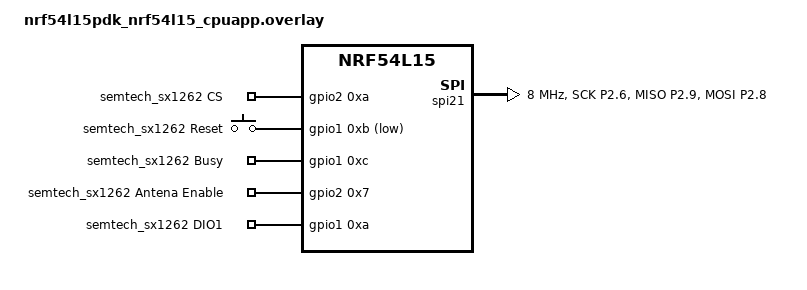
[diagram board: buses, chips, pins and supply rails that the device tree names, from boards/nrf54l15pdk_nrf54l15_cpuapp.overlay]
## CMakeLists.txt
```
#
# Copyright (c) 2023 Nordic Semiconductor ASA
#
# SPDX-License-Identifier: LicenseRef-Nordic-5-Clause
#

cmake_minimum_required(VERSION 3.20.0)

# Zephyr CMake project
find_package(Zephyr REQUIRED HINTS $ENV{ZEPHYR_BASE})
project(sidewalk_sid_end_device)

# Source files
target_include_directories(app PRIVATE include)
target_sources(app PRIVATE
src/main.c
src/sidewalk.c
src/sidewalk_events.c
)

target_sources_ifdef(CONFIG_SIDEWALK_FILE_TRANSFER_DFU app PRIVATE
    src/sbdt/scratch_buffer.c
    src/sbdt/dfu_file_transfer.c
)

if(CONFIG_SID_END_DEVICE_SENSOR_MONITORING)
    target_sources(app PRIVATE
        src/sensor_monitoring/app_buttons.c
        src/sensor_monitoring/app_leds.c
        src/sensor_monitoring/app_sensor.c
        src/sensor_monitoring/app_tx.c
        src/sensor_monitoring/app_rx.c
        src/sensor_monitoring/app.c
    )
elseif(CONFIG_SID_END_DEVICE_DUT)
    target_sources(app PRIVATE
        src/cli/app.c
    )
else()
    target_sources(app PRIVATE
        src/hello/app.c
    )
endif()

if(CONFIG_SID_END_DEVICE_CLI)
    target_sources(app PRIVATE
        src/cli/app_shell.c
    )
    target_link_libraries(app PRIVATE sid_cli_ifc)
    if(NOT CONFIG_SIDEWALK_SUBGHZ_SUPPORT)
        target_sources(app PRIVATE src/cli/sid_utils_compat.c)
        target_link_libraries(app PRIVATE sid_utils_ifc)
    endif()
    target_sources_ifdef(CONFIG_SIDEWALK_ON_DEV_CERT app PRIVATE 
        src/cli/sid_on_dev_cert_cli.c
    )
    target_sources_ifdef(CONFIG_SIDEWALK_REGISTRATION_OVER_WIRE app PRIVATE
        src/cli/row_shell.c
    )
endif()

if(CONFIG_SIDEWALK_USE_PREBUILT_LIBRARIES)
    target_link_libraries(app PRIVATE sidewalk)
endif()
```

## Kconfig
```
#
# Copyright (c) 2022 Nordic Semiconductor ASA
#
# SPDX-License-Identifier: LicenseRef-Nordic-5-Clause
#

mainmenu "Sidewalk End Device nRF Connect Application"

choice SID_END_DEVICE
	prompt "Select application variant to run"
	default SID_END_DEVICE_HELLO
config SID_END_DEVICE_HELLO
	bool "Sidewalk hello world application"
config SID_END_DEVICE_SENSOR_MONITORING
	bool "Demo sensor monitoring application"
	imply SIDEWALK_DEMO_PARSER
	imply SENSOR
	imply TEMP_NRF5
config SID_END_DEVICE_DUT
	bool "Device under test application"
endchoice #SID_END_DEVICE

if SID_END_DEVICE_HELLO

config SID_END_DEVICE_ECHO_MSGS
	bool "Enable message echo feature"
	default y
	help
	  Echo received messages back to Sidewalk cloud.
	  Works with GET and SET messages types.

endif #SID_END_DEVICE_HELLO

if SID_END_DEVICE_SENSOR_MONITORING

rsource "Kconfig.sensor_monitoring"

endif #SID_END_DEVICE_SENSOR_MONITORING

config SID_END_DEVICE_CLI
	bool "Sidewalk CLI (DUT)"
	depends on SID_END_DEVICE_DUT
	default y
	imply SHELL
	imply CRC
	help
	  Enables Sidewalk command line interface.
	  The shell commands are forwarded to the Amazon Sidewalk SDK CLI
	  and executed on the Sidewalk thread.

if SID_END_DEVICE_CLI

config SHELL_CMD_BUFF_SIZE
	default 768

config SHELL_STACK_SIZE
	default 4096

config SHELL_BACKEND_SERIAL_TX_RING_BUFFER_SIZE
	default 128

config SHELL_BACKEND_SERIAL_RX_RING_BUFFER_SIZE
	default 1024

# The shell thread does not print log messages while waiting for a command to complete,
# so the queue must hold all messages logged by a command.
config SHELL_BACKEND_SERIAL_LOG_MESSAGE_QUEUE_SIZE
	default 8192

config SID_END_DEVICE_CLI_ALIVE_MARKER
	bool "Alive marker"
	help
	    Enable alive marker that periodically prints "alive" message to log.
	    Useful to verify that application is running and not stuck.

config SID_END_DEVICE_CLI_CMD_TIMEOUT
	int "Sidewalk CLI command timeout [s]"
	default 60
	help
	    Maximum time to wait for the Sidewalk thread to execute a shell command.
	    The time spent in the power measurement mode is not counted.
	    If the command does not complete in time, a kernel oops is triggered.
	    Set to 0 to wait forever.

# Sidewalk CLI command results and events are only printed by the debug libraries
choice SIDEWALK_PREBUILT_LIBRARIES_VARIANT
	default SIDEWALK_PREBUILT_LIBRARIES_DEBUG
endchoice

endif # SID_END_DEVICE_CLI

config SID_END_DEVICE_AUTO_START
	default y
	bool "Automatic Sidewalk initialization and start"

config SID_END_DEVICE_AUTO_CONN_REQ
	default y
	bool "Automatic connection request before message send"

config SID_END_DEVICE_PERSISTENT_LINK_MASK
	bool "Persistent link mask"
	help
	  The Sidewalk link mask persists after a device reset
	  but defaults after a factory reset.
	  This could affect the flash lifespan.

choice SID_END_DEVICE_LINK_MASK
	prompt "Physical link type"
	default SID_END_DEVICE_LINK_MASK_FSK if SIDEWALK_LINK_MASK_FSK
	default SID_END_DEVICE_LINK_MASK_LORA if SIDEWALK_LINK_MASK_LORA
	default SID_END_DEVICE_LINK_MASK_BLE if SIDEWALK_LINK_MASK_BLE
	default SID_END_DEVICE_LINK_MASK_BLE
	help
	  Choose the default physical link type for Sidewalk connection.

config SID_END_DEVICE_LINK_MASK_BLE
	bool "Bluetooth Low Energy link"

config SID_END_DEVICE_LINK_MASK_FSK
	bool "Sub-GHz link for FSK"

config SID_END_DEVICE_LINK_MASK_LORA
	bool "Sub-GHz link for LORA"

endchoice # SID_END_DEVICE_LINK_MASK

config SID_END_DEVICE_EVENT_HEAP_SIZE
	int "Heap for Sidewalk event contexts"
	default 2048

config SIDEWALK_FILE_TRANSFER
	bool "Sidewalk file transfer [DEPRECATED]"
	select DEPRECATED
	help
	  This option is deprecated. Use SIDEWALK_FILE_TRANSFER_DFU instead.

config SIDEWALK_FILE_TRANSFER_SHELL
	bool "SBDT cli backend for file transfer [DEPRECATED]"
	depends on SIDEWALK_FILE_TRANSFER
	select DEPRECATED
	help
	  This option is deprecated and has no effect.
	  The Sidewalk Bulk Data Transfer (SBDT) commands are provided by the
	  Sidewalk QA library when SID_END_DEVICE_CLI is enabled.

config SIDEWALK_FILE_TRANSFER_DFU
	bool "Sidewalk file transfer and DFU [EXPERIMENTAL]"
	select EXPERIMENTAL
	imply SIDEWALK_DFU_IMG_UTILS
	imply DFU_MULTI_IMAGE
	imply DFU_TARGET
	imply DFU_TARGET_MCUBOOT
	imply STREAM_FLASH
	imply STREAM_FLASH_ERASE
	help
	    Add support for Sidewalk Bulk Data Transfer (SBDT) in application.
	    Save received data to flash. Expect CBOR manifest.
	    Automatically reset device after file transfer.

if SIDEWALK_FILE_TRANSFER_DFU

config SIDEWALK_FILE_TRANSFER_HEAP_SIZE
	int "Sidewalk file transfer heap size"
	default 10240
	help
	    Heap size in bytes to be allocated
	    for Sidewalk Bulk Data Transfer (SBDT).

config SBDT_MAX_PARALLEL_TRANSFERS
	int "maximum number of sbdt parallel transfers"
	default 3

endif # SIDEWALK_FILE_TRANSFER_DFU

config SIDEWALK_LOCATION_SHELL
	bool "Sidewalk Location CLI [DEPRECATED]"
	depends on SID_END_DEVICE_CLI
	select DEPRECATED
	help
	  This option is deprecated and has no effect.
	  The Sidewalk location and DULT commands are provided by the Sidewalk CLI
	  when SID_END_DEVICE_CLI is enabled.

if SIDEWALK_CRYPTO

choice CC3XX_LOCK_VARIANT
	default CC3XX_ATOMIC_LOCK if SOC_NRF52840
endchoice

config PSA_WANT_ALG_SHA_512
	default y if SOC_SERIES_NRF54LX

config PSA_WANT_ALG_CHACHA20_POLY1305
	default n

config PSA_WANT_ALG_SHA_224
	default n

config PSA_WANT_ALG_SHA_384
	default n

config PSA_WANT_ALG_CBC_NO_PADDING
	default n

config PSA_WANT_ALG_CBC_PKCS7
	default n

config PSA_WANT_ALG_HKDF
	default n

config PSA_USE_CC3XX_KEY_AGREEMENT_DRIVER
	default n if SOC_NRF52840

config PSA_USE_CC3XX_ASYMMETRIC_SIGNATURE_DRIVER
	default n if SOC_NRF52840

config PSA_USE_CC3XX_ASYMMETRIC_ENCRYPTION_DRIVER
	default n if SOC_NRF52840

config PSA_USE_CC3XX_KEY_MANAGEMENT_DRIVER
	default n if SOC_NRF52840

endif #SIDEWALK_CRYPTO

if SHELL
# TODO: Remove when merged in NCS copy of sdk-zephyr https://github.com/zephyrproject-rtos/zephyr/pull/85790
# Workaround for missing first few logs.
config LOG_BACKEND_RTT
	bool "Segger J-Link RTT backend"
	depends on USE_SEGGER_RTT
	default y if !SHELL_LOG_BACKEND
	default n
endif #SHELL

source "Kconfig.zephyr"
```

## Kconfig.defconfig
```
#
# Copyright (c) 2022 Nordic Semiconductor ASA
#
# SPDX-License-Identifier: LicenseRef-Nordic-5-Clause
#

# Bluetooth
config BT_REMOTE_VERSION
	default y

config BT_BUF_ACL_TX_SIZE
	default 251
	default 502 if SIDEWALK_DFU_BLE_FAST

config BT_BUF_ACL_TX_COUNT
	default 3

config BT_BUF_ACL_RX_SIZE
	default 251
	default 502 if SIDEWALK_DFU_BLE_FAST

config BT_BUF_ACL_RX_COUNT_EXTRA
	default 5

config BT_L2CAP_TX_MTU
	default 247
	default 498 if SIDEWALK_DFU_BLE_FAST

config BT_CTLR_DATA_LENGTH_MAX
	default 247
	default 251 if SIDEWALK_DFU_BLE_FAST

config BT_PERIPHERAL_PREF_MIN_INT
	default 16

config BT_PERIPHERAL_PREF_MAX_INT
	default 60

config BT_PERIPHERAL_PREF_LATENCY
	default 0

config BT_PERIPHERAL_PREF_TIMEOUT
	default 400

# NVM
config NVS_LOOKUP_CACHE
	default y

config NVS_LOOKUP_CACHE_SIZE
	default 256

# Stack and Heap
config SYSTEM_WORKQUEUE_STACK_SIZE
	default 4096

config LOG_PROCESS_THREAD_STARTUP_DELAY_MS
	default 50 if SHELL

config SHELL_STACK_SIZE
	default 8192 if SID_END_DEVICE_CLI

config HEAP_MEM_POOL_SIZE
	default 4096

config MBEDTLS_HEAP_SIZE
	default 4096

config SPI_NRFX_RAM_BUFFER_SIZE
	default 0

# CLI
if SID_END_DEVICE_CLI

config SHELL_CMD_BUFF_SIZE
	default 1024

config SHELL_BACKEND_SERIAL_TX_RING_BUFFER_SIZE
	default 128

config SHELL_BACKEND_SERIAL_RX_RING_BUFFER_SIZE
	default 1024

endif # SID_END_DEVICE_CLI

# Others
config SPIN_VALIDATE
    default n

config PARTITION_MANAGER_ENABLED
	default y
```

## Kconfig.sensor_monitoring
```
#
# Copyright (c) 2022 Nordic Semiconductor ASA
#
# SPDX-License-Identifier: LicenseRef-Nordic-5-Clause
#

config TEMPLATE_APP_NOTIFY_DATA_PERIOD_MS
    int "Notify period of sensor monitoring template app"
    default 10000

config SIDEWALK_THREAD_PRIORITY
    default 12

config TEMPLATE_APP_TX_THREAD_PRIORITY
    int
    default 13

config TEMPLATE_APP_RX_THREAD_PRIORITY
    int
    default 14

config TEMPLATE_APP_TX_THREAD_STACK_SIZE
    int
    default 4096

config TEMPLATE_APP_RX_THREAD_STACK_SIZE
    int
    default 4096

config TEMPLATE_APP_TX_THREAD_QUEUE_SIZE
    int
    default 10

config TEMPLATE_APP_RX_THREAD_QUEUE_SIZE
    int
    default 4
```

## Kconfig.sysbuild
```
#
# Copyright (c) 2023 Nordic Semiconductor ASA
#
# SPDX-License-Identifier: LicenseRef-Nordic-5-Clause
#

choice BOOTLOADER
	default BOOTLOADER_MCUBOOT
endchoice

if BOOTLOADER_MCUBOOT

choice MCUBOOT_MODE
	default MCUBOOT_MODE_OVERWRITE_ONLY
endchoice

config MCUBOOT_SIGNATURE_USING_KMU
	default y if SOC_SERIES_NRF54L

config MCUBOOT_GENERATE_DEFAULT_KEY_FILE
	default y if SOC_SERIES_NRF54L

config DFU_MULTI_IMAGE_PACKAGE_BUILD
	default y

config DFU_MULTI_IMAGE_PACKAGE_APP
	default y

config MERGED_HEX_FILES
	default y

endif # BOOTLOADER_MCUBOOT

source "${ZEPHYR_BASE}/share/sysbuild/Kconfig"
```

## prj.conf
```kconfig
#
# Copyright (c) 2023 Nordic Semiconductor ASA
#
# SPDX-License-Identifier: LicenseRef-Nordic-5-Clause
#
CONFIG_STATIC_INIT_GNU=y

# Sidewalk
CONFIG_SIDEWALK=y
CONFIG_SMF=y

# Log
CONFIG_LOG=y
CONFIG_LOG_PRINTK=y
CONFIG_LOG_BUFFER_SIZE=4096

# Stack and Heap
CONFIG_SYSTEM_WORKQUEUE_STACK_SIZE=4096
CONFIG_MBEDTLS_HEAP_SIZE=4096

# Power Management
CONFIG_PM_DEVICE=y
CONFIG_PM_DEVICE_RUNTIME=y

# Link Time Optimization
CONFIG_LTO=y
CONFIG_ISR_TABLES_LOCAL_DECLARATION=y

# Debug
CONFIG_NCS_APPLICATION_BOOT_BANNER_STRING="Sidewalk"
CONFIG_RESET_ON_FATAL_ERROR=n
CONFIG_SYS_HEAP_RUNTIME_STATS=y
```

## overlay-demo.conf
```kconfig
#
# Copyright (c) 2024 Nordic Semiconductor ASA
#
# SPDX-License-Identifier: LicenseRef-Nordic-5-Clause
#

CONFIG_SID_END_DEVICE_SENSOR_MONITORING=y
```

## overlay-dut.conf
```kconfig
#
# Copyright (c) 2024 Nordic Semiconductor ASA
#
# SPDX-License-Identifier: LicenseRef-Nordic-5-Clause
#
CONFIG_SID_END_DEVICE_DUT=y

CONFIG_SID_END_DEVICE_CLI=y
CONFIG_SIDEWALK_ON_DEV_CERT=y

CONFIG_SIDEWALK_BLE_ADAPTER_LOG_LEVEL_DBG=y

CONFIG_SID_END_DEVICE_AUTO_START=n
CONFIG_SID_END_DEVICE_ECHO_MSGS=n
```

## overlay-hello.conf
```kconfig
#
# Copyright (c) 2024 Nordic Semiconductor ASA
#
# SPDX-License-Identifier: LicenseRef-Nordic-5-Clause
#

CONFIG_SID_END_DEVICE_HELLO=y
```

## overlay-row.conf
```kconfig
#
# Copyright (c) 2026 Nordic Semiconductor ASA
#
# SPDX-License-Identifier: LicenseRef-Nordic-5-Clause
#
# Registration over Wire (ROW) factory diagnostic firmware.
# Apply on top of overlay-dut.conf.
#
CONFIG_SIDEWALK_REGISTRATION_OVER_WIRE=y

# The ROW shell backend owns the shell UART: no default serial shell and no raw console.
CONFIG_SHELL_BACKEND_SERIAL=n
CONFIG_UART_CONSOLE=n

# Logs go through the ROW shell backend, never to RTT.
CONFIG_LOG_BACKEND_RTT=n
CONFIG_LOG_BACKEND_UART=n
```

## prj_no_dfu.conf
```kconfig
#
# Copyright (c) 2023 Nordic Semiconductor ASA
#
# SPDX-License-Identifier: LicenseRef-Nordic-5-Clause
#

# Sidewalk
CONFIG_SIDEWALK=y
CONFIG_SIDEWALK_DFU=n
CONFIG_SMF=y

# Log
CONFIG_LOG=y
CONFIG_LOG_PRINTK=y
CONFIG_LOG_BUFFER_SIZE=2048
CONFIG_NVS_LOG_LEVEL_WRN=y

# Bluetooth
CONFIG_BT_DEVICE_NAME="Nordic"

# Debug
CONFIG_RESET_ON_FATAL_ERROR=n
```

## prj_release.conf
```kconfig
#
# Copyright (c) 2022 Nordic Semiconductor ASA
#
# SPDX-License-Identifier: LicenseRef-Nordic-5-Clause
#
CONFIG_STATIC_INIT_GNU=y

# Sidewalk
CONFIG_SIDEWALK=y
CONFIG_SMF=y
CONFIG_SIDEWALK_PREBUILT_LIBRARIES_RELEASE=y

# Stack and Heap
CONFIG_SYSTEM_WORKQUEUE_STACK_SIZE=4096
CONFIG_MBEDTLS_HEAP_SIZE=4096

# Disable peripherals
CONFIG_LOG=n
CONFIG_SERIAL=n
CONFIG_SHELL=n
CONFIG_CONSOLE=n
CONFIG_UART_CONSOLE=n
CONFIG_BOOT_BANNER=n
CONFIG_NCS_BOOT_BANNER=n
CONFIG_PRINTK=n
CONFIG_ASSERT=n
CONFIG_ASSERT_VERBOSE=n
CONFIG_ASSERT_NO_FILE_INFO=y
CONFIG_PRINTK_SYNC=n
CONFIG_THREAD_NAME=n

# Power Management
CONFIG_PM_DEVICE=y
CONFIG_PM_DEVICE_RUNTIME=y

# Link Time Optimization
CONFIG_LTO=y
CONFIG_ISR_TABLES_LOCAL_DECLARATION=y
```

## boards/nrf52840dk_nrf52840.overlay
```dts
/*
 * Copyright (c) 2023 Nordic Semiconductor ASA
 *
 * SPDX-License-Identifier: LicenseRef-Nordic-5-Clause
 */

/*
 * Override simple_arduino_adapter pinctrl: use a self-contained config for
 * spi2 on Arduino header pins (P1.13/P1.14/P1.15) instead of borrowing
 * spi3_default, which gained H0H1 drive in NCS 3.3.0.
 */
#include <zephyr/dt-bindings/pinctrl/nrf-pinctrl.h>

&pinctrl {
	spi2_arduino_default: spi2_arduino_default {
		group1 {
			psels = <NRF_PSEL(SPIM_SCK, 1, 15)>,
				<NRF_PSEL(SPIM_MOSI, 1, 13)>,
				<NRF_PSEL(SPIM_MISO, 1, 14)>;
		};
	};

	spi2_arduino_sleep: spi2_arduino_sleep {
		group1 {
			psels = <NRF_PSEL(SPIM_SCK, 1, 15)>,
				<NRF_PSEL(SPIM_MOSI, 1, 13)>,
				<NRF_PSEL(SPIM_MISO, 1, 14)>;
			low-power-enable;
		};
	};
};

&spi2 {
	pinctrl-0 = <&spi2_arduino_default>;
	pinctrl-1 = <&spi2_arduino_sleep>;
};

/{
	state_notifier_gpios{
		compatible = "gpio-keys";
		state_notifier_error: error  {
			gpios = <&gpio1 0x7 0x0>;
			label = "Application state error";
		};
		state_notifier_dfu: dfu  {
			gpios = <&gpio1 0x1 0x0>;
			label = "Application state dfu";
		};
		state_notifier_sending: sending  {
			gpios = <&gpio1 0x3 0x0>;
			label = "Application state sending";
		};
		state_notifier_receiving: receiving  {
			gpios = <&gpio1 0x2 0x0>;
			label = "Application state receiving";
		};
	};

	aliases {
		state-notifier-connected = &led0;
		state-notifier-time-sync = &led1;
		state-notifier-registered = &led2;
		state-notifier-working = &led3;
		state-notifier-error = &state_notifier_error;
		state-notifier-dfu = &state_notifier_dfu;
		state-notifier-sending = &state_notifier_sending;
		state-notifier-receiving = &state_notifier_receiving;
	};
};

#include <nrf52840_partitions.dtsi>
```

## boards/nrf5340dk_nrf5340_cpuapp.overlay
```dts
/*
 * Copyright (c) 2023 Nordic Semiconductor ASA
 *
 * SPDX-License-Identifier: LicenseRef-Nordic-5-Clause
 */

/{
	state_notifier_gpios{
		compatible = "gpio-keys";
		state_notifier_error: error  {
			gpios = <&gpio1 0x8 0x0>;
			label = "Application state error";
		};
		state_notifier_dfu: dfu  {
			gpios = <&gpio1 0x2 0x0>;
			label = "Application state dfu";
		};
		state_notifier_sending: sending  {
			gpios = <&gpio1 0x4 0x0>;
			label = "Application state sending";
		};
		state_notifier_receiving: receiving  {
			gpios = <&gpio1 0x3 0x0>;
			label = "Application state receiving";
		};
	};

	aliases {
		state-notifier-connected = &led0;
		state-notifier-time-sync = &led1;
		state-notifier-registered = &led2;
		state-notifier-working = &led3;
		state-notifier-error = &state_notifier_error;
		state-notifier-dfu = &state_notifier_dfu;
		state-notifier-sending = &state_notifier_sending;
		state-notifier-receiving = &state_notifier_receiving;
	};

	chosen {
		nordic,pm-ext-flash = &mx25r64;
	};
};

/* Disable unused peripherals to reduce power consumption */
&adc {
	status = "disabled";
};
&i2c1 {
	status = "disabled";
};
&pwm0 {
	status = "disabled";
};
&spi2 {
	status = "disabled";
};
&usbd {
	status = "disabled";
};
```

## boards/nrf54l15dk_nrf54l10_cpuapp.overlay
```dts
/*
 * Copyright (c) 2024 Nordic Semiconductor ASA
 *
 * SPDX-License-Identifier: LicenseRef-Nordic-5-Clause
 */

#include <state_notifier_aliases.dtsi>

#include <nrf54l10_cpuapp_memory.dtsi>

&adc {
	status = "disabled";
};
&uart21 {
	status = "disabled";
};
&pwm20 {
	status = "disabled";
};
&i2c20 {
	status = "disabled";
};
&spi20 {
	status = "disabled";
};
&mx25r64 {
	status = "okay";
};

#include <nrf54l10_cpuapp_partitions.dtsi>
```

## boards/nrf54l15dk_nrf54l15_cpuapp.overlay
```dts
/*
 * Copyright (c) 2024 Nordic Semiconductor ASA
 *
 * SPDX-License-Identifier: LicenseRef-Nordic-5-Clause
 */

#include <state_notifier_aliases.dtsi>

#include <nrf54l15_cpuapp_memory.dtsi>

&adc {
	status = "disabled";
};
&uart21 {
	status = "disabled";
};
&pwm20 {
	status = "disabled";
};
&i2c20 {
	status = "disabled";
};
&spi20 {
	status = "disabled";
};

#include <nrf54l15_cpuapp_partitions.dtsi>
```

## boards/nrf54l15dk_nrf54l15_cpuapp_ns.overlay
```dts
/*
 * Copyright (c) 2024 Nordic Semiconductor ASA
 *
 * SPDX-License-Identifier: LicenseRef-Nordic-5-Clause
 */

#include <state_notifier_aliases.dtsi>

&sram0_s {
	reg = <0x0 0x13000>;
	ranges = <0x0 0x0 0x13000>;
};

&sram0_ns {
	reg = <0x13000 0x2d000>;
	ranges = <0x0 0x13000 0x2d000>;
};

#include <nrf54l15_cpuapp_ns_partitions.dtsi>

&adc {
	status = "disabled";
};
&uart21 {
	status = "disabled";
};
&pwm20 {
	status = "disabled";
};
&i2c20 {
	status = "disabled";
};
&spi20 {
	status = "disabled";
};

// Change IRQ ids to handle button interrupts.

// The default values for nRF54L15 are 219 and 269,
// but with TF-M they are reserved for the secure domain
// (218 and 268 are reserved for the non-secure domain).
&gpiote20 {
	interrupts = <218 NRF_DEFAULT_IRQ_PRIORITY>;
};

&gpiote30 {
	interrupts = <268 NRF_DEFAULT_IRQ_PRIORITY>;
};
```

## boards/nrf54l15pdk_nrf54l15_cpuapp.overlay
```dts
/*
 * Copyright (c) 2024 Nordic Semiconductor ASA
 *
 * SPDX-License-Identifier: LicenseRef-Nordic-5-Clause
 */


&pinctrl {
	spi21_default: spi21_default {
		group1 {
			psels = <NRF_PSEL(SPIM_SCK, 2, 6)>,
			        <NRF_PSEL(SPIM_MISO, 2, 9)>,
			        <NRF_PSEL(SPIM_MOSI, 2, 8)>;
		};
	};

	spi21_sleep: spi21_sleep {
		group1 {
			psels = <NRF_PSEL(SPIM_SCK, 2, 6)>,
			        <NRF_PSEL(SPIM_MISO, 2, 9)>,
			        <NRF_PSEL(SPIM_MOSI, 2, 8)>;
			low-power-enable;
		};
	};
};

sid_semtech: &spi21 {
	compatible = "nordic,nrf-spim";
	status = "okay";
	pinctrl-0 = <&spi21_default>;
	pinctrl-1 = <&spi21_sleep>;
	pinctrl-names = "default", "sleep";
	clock-frequency = <DT_FREQ_M(8)>;
};

/{
	semtech_sx1262_gpios{
		compatible = "gpio-keys";
		semtech_sx1262_cs: cs {
			gpios = <&gpio2 0xa GPIO_PULL_UP>;
			label = "semtech_sx1262 CS";
		};
		semtech_sx1262_reset_gpios: reset {
			gpios = <&gpio1 0xb (GPIO_ACTIVE_LOW|GPIO_PULL_UP)>;
			label = "semtech_sx1262 Reset";
		};
		semtech_sx1262_busy_gpios: busy {
			gpios = <&gpio1 0xc 0x0>;
			label = "semtech_sx1262 Busy";
		};
		semtech_sx1262_antenna_enable_gpios: antena_enable {
			gpios = <&gpio2 0x7 0x0>;
			label = "semtech_sx1262 Antena Enable";
		};
		semtech_sx1262_dio1_gpios: dio1 {
			gpios = <&gpio1 0xa 0x0>;
			label = "semtech_sx1262 DIO1";
		};
	};
	aliases {
		led0 = &led0;
		led1 = &led1;
		led2 = &led2;
		led3 = &led3;
		watchdog0 = &wdt30;
		/delete-property/ sw0;
		/delete-property/ sw1;
		/delete-property/ sw2;
		/delete-property/ sw3;
	};
};

/delete-node/ &button3;
/delete-node/ &button2;
/delete-node/ &button1;
/delete-node/ &button0;

&gpiote20 {
	status = "okay";
};

&gpiote30 {
	status = "okay";
};

&gpio1 {
	status = "okay";
};

&gpio2 {
	status = "okay";
};

&gpio0 {
	status = "okay";
};
```

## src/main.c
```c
/*
 * Copyright (c) 2023 Nordic Semiconductor ASA
 *
 * SPDX-License-Identifier: LicenseRef-Nordic-5-Clause
 */

#include <app.h>
#include <zephyr/logging/log.h>
#include <sidewalk_version.h>

int main(void)
{
	PRINT_SIDEWALK_VERSION();

	app_start();

	return 0;
}
```

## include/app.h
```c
/*
 * Copyright (c) 2023 Nordic Semiconductor ASA
 *
 * SPDX-License-Identifier: LicenseRef-Nordic-5-Clause
 */

#ifndef SAMPLE_APP_H
#define SAMPLE_APP_H

/**
 * @brief Start Sidewalk end device application.
 *
 * @note This function should never return.
 */
void app_start(void);

#endif /* SAMPLE_APP_H */
```

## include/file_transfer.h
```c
/*
 * Copyright (c) 2024 Nordic Semiconductor ASA
 *
 * SPDX-License-Identifier: LicenseRef-Nordic-5-Clause
 */

#ifndef FILE_TRANSFER_H
#define FILE_TRANSFER_H

#include <sid_bulk_data_transfer_api.h>

void app_file_transfer_demo_init(struct sid_handle *handle);

void app_file_transfer_demo_deinit(struct sid_handle *handle);

#endif /* FILE_TRANSFER_H */
```

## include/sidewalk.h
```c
/*
 * Copyright (c) 2023 Nordic Semiconductor ASA
 *
 * SPDX-License-Identifier: LicenseRef-Nordic-5-Clause
 */
#ifndef SIDEWALK_APP_H
#define SIDEWALK_APP_H

#include <sid_api.h>

#include <zephyr/kernel.h>
#include <zephyr/sys/slist.h>

typedef struct {
	struct sid_handle *handle;
	struct sid_config config;
	struct sid_status last_status;
} sidewalk_ctx_t;

typedef void (*event_handler_t)(sidewalk_ctx_t *sid, void *ctx);
typedef void (*ctx_free)(void *ctx);
typedef struct {
	event_handler_t handler;
	void *ctx;
	ctx_free ctx_free;
} sidewalk_ctx_event_t;

typedef struct {
	sys_snode_t node;
	struct sid_msg msg;
	struct sid_msg_desc desc;
} sidewalk_msg_t;

typedef struct {
	enum sid_option option;
	void *data;
	size_t data_len;
} sidewalk_option_t;

typedef struct {
	uint32_t file_id;
	size_t file_offset;
	void *data;
	size_t data_size;
} sidewalk_transfer_t;

void sidewalk_start(sidewalk_ctx_t *context);

int sidewalk_event_send(event_handler_t event, void *ctx, ctx_free free);

#ifdef CONFIG_SID_END_DEVICE_LINK_MASK_BLE
#define DEFAULT_LM (uint32_t)(SID_LINK_TYPE_1)
#elif CONFIG_SID_END_DEVICE_LINK_MASK_FSK
#define DEFAULT_LM (uint32_t)(SID_LINK_TYPE_2)
#elif CONFIG_SID_END_DEVICE_LINK_MASK_LORA
#define DEFAULT_LM (uint32_t)(SID_LINK_TYPE_3)
#else
#define DEFAULT_LM (uint32_t)(SID_LINK_TYPE_1)
#endif

void sidewalk_event_process(sidewalk_ctx_t *sid, void *ctx);
void sidewalk_event_autostart(sidewalk_ctx_t *sid, void *ctx);
void sidewalk_event_factory_reset(sidewalk_ctx_t *sid, void *ctx);
void sidewalk_event_new_status(sidewalk_ctx_t *sid, void *ctx);
void sidewalk_event_send_msg(sidewalk_ctx_t *sid, void *ctx);
void sidewalk_event_connect(sidewalk_ctx_t *sid, void *ctx);
void sidewalk_event_link_switch(sidewalk_ctx_t *sid, void *ctx);
void sidewalk_event_exit(sidewalk_ctx_t *sid, void *ctx);
void sidewalk_event_reboot(sidewalk_ctx_t *sid, void *ctx);
void sidewalk_event_platform_init(sidewalk_ctx_t *sid, void *ctx);

#define EVENT_TO_NAME(event)                                                                       \
	event == sidewalk_event_process	      ? "sidewalk_event_process" :                         \
	event == sidewalk_event_autostart     ? "sidewalk_event_autostart" :                       \
	event == sidewalk_event_factory_reset ? "sidewalk_event_factory_reset" :                   \
	event == sidewalk_event_new_status    ? "sidewalk_event_new_status" :                      \
	event == sidewalk_event_send_msg      ? "sidewalk_event_send_msg" :                        \
	event == sidewalk_event_connect	      ? "sidewalk_event_connect" :                         \
	event == sidewalk_event_link_switch   ? "sidewalk_event_link_switch" :                     \
	event == sidewalk_event_exit	      ? "sidewalk_event_exit" :                            \
	event == sidewalk_event_reboot	      ? "sidewalk_event_reboot" :                          \
	event == sidewalk_event_platform_init ? "sidewalk_event_platform_init" :                   \
						"use addr2line to get name of event"
#endif /* SIDEWALK_APP_H */
```

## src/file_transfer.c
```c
/*
 * Copyright (c) 2023 Nordic Semiconductor ASA
 *
 * SPDX-License-Identifier: LicenseRef-Nordic-5-Clause
 */

#include <file_transfer.h>
#include <sid_bulk_data_transfer_api.h>
#include <sid_hal_memory_ifc.h>
#include <sidewalk.h>
#include <scratch_buffer.h>

#ifdef CONFIG_SIDEWALK_FILE_TRANSFER_DFU
#include <dfu/dfu_multi_image.h>
#include <dfu/dfu_target.h>
#include <dfu_multi_image_utils.h>

#include <zephyr/dfu/mcuboot.h>
#endif /* CONFIG_SIDEWALK_FILE_TRANSFER_DFU */

#include <zephyr/kernel.h>
#include <zephyr/sys/util.h>
#include <zephyr/logging/log.h>

#include <sidTypes2str.h>
#include <sidTypes2Json.h>

LOG_MODULE_REGISTER(file_transfer, CONFIG_SIDEWALK_LOG_LEVEL);

static void on_transfer_request(const struct sid_bulk_data_transfer_request *const transfer_request,
				struct sid_bulk_data_transfer_response *const transfer_response,
				void *context)
{
	printk(JSON_NEW_LINE(JSON_OBJ(
		JSON_NAME("on_transfer_request", JSON_OBJ(JSON_VAL_sid_bulk_data_transfer_request(
							 "transfer_request", transfer_request))))));
	LOG_HEXDUMP_INF(transfer_request->file_descriptor, transfer_request->file_descriptor_size,
			"file_descriptor");

	transfer_response->scratch_buffer = scratch_buffer_create(
		transfer_request->file_id, transfer_request->minimum_scratch_buffer_size);

	if (!transfer_response->scratch_buffer) {
		transfer_response->status = SID_BULK_DATA_TRANSFER_ACTION_REJECT;
		transfer_response->reject_reason = SID_BULK_DATA_TRANSFER_REJECT_REASON_NO_SPACE;
		transfer_response->scratch_buffer_size = 0;
		return;
	}

	transfer_response->status = SID_BULK_DATA_TRANSFER_ACTION_ACCEPT;
	transfer_response->reject_reason = SID_BULK_DATA_TRANSFER_REJECT_REASON_NONE;
	transfer_response->scratch_buffer_size = transfer_request->minimum_scratch_buffer_size;
}

static void on_data_received(const struct sid_bulk_data_transfer_desc *const desc,
			     const struct sid_bulk_data_transfer_buffer *const buffer,
			     void *context)
{
	printk(JSON_NEW_LINE(JSON_OBJ(
		JSON_LIST_2(JSON_NAME("on_data_received",
				      JSON_OBJ(JSON_VAL_sid_bulk_data_transfer_desc("desc", desc))),
			    JSON_NAME("data_size", JSON_INT(buffer->size))))));

	sidewalk_transfer_t *transfer =
		(sidewalk_transfer_t *)sid_hal_malloc(sizeof(sidewalk_transfer_t));
	if (!transfer) {
		LOG_ERR("Fail transfer alloc");
		return;
	}
	transfer->file_id = desc->file_id;
	transfer->file_offset = desc->file_offset;
	transfer->data = buffer->data;
	transfer->data_size = buffer->size;

	int err = sidewalk_event_send(SID_EVENT_FILE_TRANSFER, transfer);
	if (err) {
		LOG_ERR("Event transfer err %d", err);
		LOG_INF("Cancelig file transfer");
#ifdef CONFIG_SIDEWALK_FILE_TRANSFER_DFU
		err = dfu_multi_image_done(false);
		if (err) {
			LOG_ERR("Fail to coplete dfu %d", err);
		}
#endif /* CONFIG_SIDEWALK_FILE_TRANSFER_DFU */
		sid_error_t ret =
			sid_bulk_data_transfer_cancel((struct sid_handle *)context,
						      transfer->file_id,
						      SID_BULK_DATA_TRANSFER_REJECT_REASON_GENERIC);
		if (ret != SID_ERROR_NONE) {
			LOG_ERR("Fail to cancel sbdt %d", ret);
		}
		sid_hal_free(transfer);
	}
}

static void on_finalize_request(uint32_t file_id, void *context)
{
	printk(JSON_NEW_LINE(JSON_OBJ(JSON_NAME(
		"on_finalize_request", JSON_OBJ(JSON_NAME("file_id", JSON_INT(file_id)))))));

	// report transfer success
	sid_error_t ret = sid_bulk_data_transfer_finalize(
		(struct sid_handle *)context, file_id, SID_BULK_DATA_TRANSFER_FINAL_STATUS_SUCCESS);
	if (ret != SID_ERROR_NONE) {
		LOG_ERR("sid_bulk_data_transfer_finalize returned %s", SID_ERROR_T_STR(ret));
	}

#ifdef CONFIG_SIDEWALK_FILE_TRANSFER_DFU
	// request upgrade and reboot
	int err = 0;
	err = dfu_multi_image_done(true);
	if (err) {
		LOG_ERR("Fail to coplete dfu %d", err);
	}

	err = dfu_target_schedule_update(DFU_MUTI_IMAGE_UTILS_UPDATE_ALL);
	if (err) {
		LOG_ERR("dfu_target_schedule_update ret %d", err);
	}

	err = sidewalk_event_send(SID_EVENT_REBOOT, NULL);
	if (err) {
		LOG_ERR("reboot event send ret %d", err);
	}
#endif /* CONFIG_SIDEWALK_FILE_TRANSFER_DFU */
}

static void on_cancel_request(uint32_t file_id, void *context)
{
	printk(JSON_NEW_LINE(JSON_OBJ(JSON_NAME(
		"on_cancel_request", JSON_OBJ(JSON_NAME("file_id", JSON_INT(file_id)))))));

#ifdef CONFIG_SIDEWALK_FILE_TRANSFER_DFU
	int err = dfu_multi_image_done(false);
	if (err) {
		LOG_ERR("Fail to coplete dfu %d", err);
	}
#endif /* CONFIG_SIDEWALK_FILE_TRANSFER_DFU */
}

static void on_error(uint32_t file_id, void *context)
{
	printk(JSON_NEW_LINE(JSON_OBJ(
		JSON_NAME("on_error", JSON_OBJ(JSON_NAME("file_id", JSON_INT(file_id)))))));

#ifdef CONFIG_SIDEWALK_FILE_TRANSFER_DFU
	int err = dfu_multi_image_done(false);
	if (err) {
		LOG_ERR("Fail to coplete dfu %d", err);
	}
#endif /* CONFIG_SIDEWALK_FILE_TRANSFER_DFU */
}

static void on_release_scratch_buffer(uint32_t file_id, void *context)
{
	printk(JSON_NEW_LINE(JSON_OBJ(JSON_NAME(
		"on_release_scratch_buffer", JSON_OBJ(JSON_NAME("file_id", JSON_INT(file_id)))))));

	scratch_buffer_remove(file_id);
}

static struct sid_bulk_data_transfer_event_callbacks ft_callbacks = {
	.context = NULL,
	.on_transfer_request = on_transfer_request,
	.on_data_received = on_data_received,
	.on_finalize_request = on_finalize_request,
	.on_cancel_request = on_cancel_request,
	.on_error = on_error,
	.on_release_scratch_buffer = on_release_scratch_buffer
};

void app_file_transfer_demo_init(struct sid_handle *handle)
{
#ifdef CONFIG_SIDEWALK_FILE_TRANSFER_DFU
	int err = 0;
	// confirm current image

	err = boot_write_img_confirmed();
	if (err) {
		LOG_ERR("img confirm fail %d", err);
	}
#endif /* CONFIG_SIDEWALK_FILE_TRANSFER_DFU */

	// prepare memory dependecies
	scratch_buffer_init();

#ifdef CONFIG_SIDEWALK_FILE_TRANSFER_DFU
	err = dfu_multi_image_init_target_mcuboot();
	if (err) {
		LOG_ERR("img init fail %d", err);
		return;
	}
#endif /* CONFIG_SIDEWALK_FILE_TRANSFER_DFU */

	// init sidewalk file transfer
	ft_callbacks.context = (void *)handle;
	sid_error_t ret = sid_bulk_data_transfer_init(
		&(struct sid_bulk_data_transfer_config){ .callbacks = &ft_callbacks }, handle);
	if (ret != SID_ERROR_NONE) {
		LOG_ERR("sid_bulk_data_transfer_init returned %s", SID_ERROR_T_STR(ret));
	}
}

void app_file_transfer_demo_deinit(struct sid_handle *handle)
{
	sid_error_t err = sid_bulk_data_transfer_deinit(handle);
	if (err != SID_ERROR_NONE) {
		LOG_ERR("sid_bulk_data_transfer_deinit returned %s", SID_ERROR_T_STR(err));
	}
}
```

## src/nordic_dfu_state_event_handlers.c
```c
/*
 * Copyright (c) 2024 Nordic Semiconductor ASA
 *
 * SPDX-License-Identifier: LicenseRef-Nordic-5-Clause
 */
#include <sidewalk.h>
#include <sidewalk_dfu/nordic_dfu.h>
#include <zephyr/logging/log.h>
#include <sid_hal_memory_ifc.h>

LOG_MODULE_DECLARE(sidewalk_fsm_event_handlers, CONFIG_SIDEWALK_FSM_EVENTS_LOG_LEVEL);

void dfu_event_nordic_dfu(void *event_ctx, sm_t *sm)
{
	int err = -ENOTSUP;
#if defined(CONFIG_SIDEWALK_DFU_SERVICE_BLE)
	err = nordic_dfu_ble_stop();
#endif
	if (err) {
		LOG_ERR("dfu stop err %d", err);
	}

	smf_set_state(SMF_CTX(sm), &sm->sid_states[STATE_SIDEWALK]);
}

void dfu_event_new_status(void *event_ctx, sm_t *sm)
{
	if (!event_ctx) {
		LOG_ERR("sid new status is NULL, expected data");
		return;
	}
	sid_hal_free(event_ctx);
}

void dfu_event_send_message(void *event_ctx, sm_t *sm)
{
	sidewalk_msg_t *p_msg = (sidewalk_msg_t *)event_ctx;
	sidewalk_msg_t *message = get_message_buffer(p_msg->desc.id);

	if (message == NULL) {
		LOG_INF("Buffer already free, nothing to od");
		return;
	}
	if (message != p_msg) {
		LOG_ERR("Returned different buffer than expected");
	}

	sid_hal_free(message->msg.data);
	sid_hal_free(message);
}
```

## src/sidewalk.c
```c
/*
 * Copyright (c) 2023 Nordic Semiconductor ASA
 *
 * SPDX-License-Identifier: LicenseRef-Nordic-5-Clause
 */
#include <sid_api.h>
#include <sid_error.h>
#include <sidewalk.h>

#include <zephyr/kernel.h>
#include <zephyr/logging/log.h>

LOG_MODULE_REGISTER(sidewalk_app, CONFIG_SIDEWALK_LOG_LEVEL);

static struct k_thread sid_thread;
K_THREAD_STACK_DEFINE(sid_thread_stack, CONFIG_SIDEWALK_THREAD_STACK_SIZE);

K_MSGQ_DEFINE(sidewalk_thread_msgq, sizeof(sidewalk_ctx_event_t), CONFIG_SIDEWALK_THREAD_QUEUE_SIZE,
	      4);

K_SEM_DEFINE(sid_thread_started, 0, 1);

static void sid_thread_entry(void *context, void *unused, void *unused2)
{
	ARG_UNUSED(unused);
	ARG_UNUSED(unused2);

	sidewalk_ctx_t *sid = (sidewalk_ctx_t *)context;
	sidewalk_ctx_event_t event = {};

	k_sem_give(&sid_thread_started);

	while (1) {
		int err = k_msgq_get(&sidewalk_thread_msgq, &event, K_FOREVER);
		switch (err) {
		case 0: {
			LOG_DBG("event received %p (%s) sidewalk workq usage (%d/%d) ( after get )",
				(void *)(event.handler), EVENT_TO_NAME(event.handler),
				k_msgq_num_used_get(&sidewalk_thread_msgq),
				CONFIG_SIDEWALK_THREAD_QUEUE_SIZE);
			if (event.handler) {
				event.handler(sid, event.ctx);
			}
			if (event.ctx_free) {
				event.ctx_free(event.ctx);
			}
			break;
		}
		case -EAGAIN:
		case -ENOMSG: {
			// Do nothing, timeout
			break;
		}
		default: {
			LOG_ERR("Sidewalk msgq err %d", err);
		}
		}
	}

	LOG_ERR("Sidewalk thread ends. You should never see this message.");
}

void sidewalk_start(sidewalk_ctx_t *context)
{
	(void)k_thread_create(&sid_thread, sid_thread_stack,
			      K_THREAD_STACK_SIZEOF(sid_thread_stack), sid_thread_entry, context,
			      NULL, NULL, CONFIG_SIDEWALK_THREAD_PRIORITY, 0, K_NO_WAIT);
	(void)k_thread_name_set(&sid_thread, "sidewalk");
	k_sem_take(&sid_thread_started, K_FOREVER);
}

int sidewalk_event_send(event_handler_t event, void *ctx, ctx_free free)
{
	sidewalk_ctx_event_t ctx_event = {
		.handler = event,
		.ctx = ctx,
		.ctx_free = free,
	};

	k_timeout_t timeout = K_NO_WAIT;
	int result = -EFAULT;

#if defined(CONFIG_SIDEWALK_THREAD_QUEUE_TIMEOUT_VALUE) &&                                         \
	CONFIG_SIDEWALK_THREAD_QUEUE_TIMEOUT_VALUE > 0
	if (!k_is_in_isr()) {
		timeout = K_MSEC(CONFIG_SIDEWALK_THREAD_QUEUE_TIMEOUT_VALUE);
	}
#endif /* CONFIG_SIDEWALK_THREAD_QUEUE_TIMEOUT_VALUE > 0 */
	result = k_msgq_put(&sidewalk_thread_msgq, (void *)&ctx_event, timeout);
	LOG_DBG("sidewalk_event_send event = %p (%s), context = %p, k_msgq_put result %d sidewalk workq usage (%d/%d) (after put)",
		(void *)event, EVENT_TO_NAME(event), ctx, result,
		k_msgq_num_used_get(&sidewalk_thread_msgq), CONFIG_SIDEWALK_THREAD_QUEUE_SIZE);

	return result;
}
```

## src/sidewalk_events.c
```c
/*
 * Copyright (c) 2024 Nordic Semiconductor ASA
 *
 * SPDX-License-Identifier: LicenseRef-Nordic-5-Clause
 */

#include "json_printer/sidTypes2str.h"
#include <sidewalk.h>
#include <sid_error.h>
#include <app_mfg_config.h>
#include <sid_pal_common_ifc.h>
#include <sid_hal_memory_ifc.h>
#ifdef CONFIG_SIDEWALK_SUBGHZ_SUPPORT
#include <app_subGHz_config.h>
#include <sid_pal_radio_ifc.h>
#ifdef CONFIG_SIDEWALK_SUBGHZ_RADIO_LR1110
#include <app_location_lr11xx_config.h>
#endif /* CONFIG_SIDEWALK_SUBGHZ_RADIO_LR1110 */
#endif /* CONFIG_SIDEWALK_SUBGHZ_SUPPORT */

#include <zephyr/logging/log.h>
#include <zephyr/logging/log_ctrl.h>
#include <zephyr/sys/reboot.h>
#include <json_printer/sidTypes2Json.h>
#include <sidewalk_dfu/nordic_dfu.h>
#ifdef CONFIG_SID_END_DEVICE_PERSISTENT_LINK_MASK
#include <settings_utils.h>
#endif /* CONFIG_SID_END_DEVICE_PERSISTENT_LINK_MASK */
#ifdef CONFIG_SIDEWALK_FACTORY_REGISTRATION_RESTORE
#include <sid_mfg_credentials.h>
#endif /* CONFIG_SIDEWALK_FACTORY_REGISTRATION_RESTORE */

#ifdef CONFIG_SIDEWALK_FILE_TRANSFER_DFU
#include <sbdt/dfu_file_transfer.h>
#include <zephyr/dfu/mcuboot.h>
#endif /* CONFIG_SIDEWALK_FILE_TRANSFER_DFU */

LOG_MODULE_REGISTER(sidewalk_events, CONFIG_SIDEWALK_LOG_LEVEL);

#ifdef CONFIG_SIDEWALK_SUBGHZ_SUPPORT
static sid_pal_radio_rx_packet_t radio_rx_packet;

static void radio_event_notifier(sid_pal_radio_events_t event)
{
	LOG_DBG("Radio event %d", event);
}

static void radio_irq_handler(void)
{
	LOG_DBG("Radio IRQ");
}
#endif /* CONFIG_SIDEWALK_SUBGHZ_SUPPORT */

// private
void sidewalk_event_process(sidewalk_ctx_t *sid, void *ctx)
{
	if (sid == NULL || sid->handle == NULL) {
		LOG_INF("sidewalk need to be started first.");
		return;
	}
	sid_error_t e = sid_process(sid->handle);

	if (e) {
		LOG_ERR("sid process err  %d (%s)", (int)e, SID_ERROR_T_STR(e));
	}
}

#if defined(CONFIG_SIDEWALK_SUBGHZ_REGION_EU868)
#define SIDEWALK_SUBGHZ_INIT_REGION SID_PAL_RADIO_RC_EU
#else
#define SIDEWALK_SUBGHZ_INIT_REGION SID_PAL_RADIO_RC_NA
#endif

void sidewalk_event_platform_init(sidewalk_ctx_t *sid, void *ctx)
{
	platform_parameters_t platform_parameters = {
		.mfg_store_region.addr_start = APP_MFG_CFG_FLASH_START,
		.mfg_store_region.addr_end = APP_MFG_CFG_FLASH_END,
#ifdef CONFIG_SIDEWALK_SUBGHZ_SUPPORT
		.platform_init_parameters.radio_cfg = get_radio_cfg(),
		.platform_init_parameters.region = SIDEWALK_SUBGHZ_INIT_REGION,
		.platform_init_parameters.sub_ghz_cfg = app_get_sub_ghz_config(),
#ifdef CONFIG_SIDEWALK_SUBGHZ_RADIO_LR1110
		.platform_init_parameters.gnss_wifi_cfg =
			(lr11xx_gnss_wifi_config_t *)get_location_cfg(),
#endif /* CONFIG_SIDEWALK_SUBGHZ_RADIO_LR1110 */
#endif /* CONFIG_SIDEWALK_SUBGHZ_SUPPORT */
	};

	sid_error_t e = sid_platform_init(&platform_parameters);

	if (e != SID_ERROR_NONE) {
		LOG_ERR("Sidewalk Platform Init err:  %d (%s)", (int)e, SID_ERROR_T_STR(e));
		return;
	}
	if (app_mfg_cfg_is_empty()) {
		LOG_ERR("The mfg.hex version mismatch");
		LOG_ERR("Check if the file has been generated and flashed properly");
		LOG_ERR("START ADDRESS: 0x%08x", APP_MFG_CFG_FLASH_START);
		LOG_ERR("SIZE: 0x%08x", APP_MFG_CFG_FLASH_SIZE);
		return;
	}

#ifdef CONFIG_SIDEWALK_FACTORY_REGISTRATION_RESTORE
	/* Restore a factory registration before the first sid_init(). */
	e = sid_mfg_credentials_recover();
	if (e) {
		LOG_ERR("Factory registration restore err %d (%s)", (int)e, SID_ERROR_T_STR(e));
	}
#endif /* CONFIG_SIDEWALK_FACTORY_REGISTRATION_RESTORE */

#ifdef CONFIG_SIDEWALK_SUBGHZ_SUPPORT
	int32_t err = sid_pal_radio_init(radio_event_notifier, radio_irq_handler, &radio_rx_packet);

	if (err) {
		LOG_ERR("radio init err %d", err);
		return;
	}
	err = sid_pal_radio_sleep(0);
	if (err) {
		LOG_ERR("radio sleep err %d", err);
	}
#endif /* CONFIG_SIDEWALK_SUBGHZ_SUPPORT */
}

void sidewalk_event_autostart(sidewalk_ctx_t *sid, void *ctx)
{
	if (sid->handle != NULL) {
		LOG_INF("Sidewalk is already running");
		return;
	}
	if (app_mfg_cfg_is_empty()) {
		LOG_ERR("The mfg.hex version mismatch");
		LOG_ERR("Check if the file has been generated and flashed properly");
		LOG_ERR("START ADDRESS: 0x%08x", APP_MFG_CFG_FLASH_START);
		LOG_ERR("SIZE: 0x%08x", APP_MFG_CFG_FLASH_SIZE);
		return;
	}
#ifdef CONFIG_SID_END_DEVICE_PERSISTENT_LINK_MASK
	int err = settings_utils_link_mask_get(&sid->config.link_mask);

	if (err <= 0) {
		LOG_WRN("Link mask get failed %d", err);
		sid->config.link_mask = 0;
		settings_utils_link_mask_set(DEFAULT_LM);
	}
#endif /* CONFIG_SID_END_DEVICE_PERSISTENT_LINK_MASK */

	if (!sid->config.link_mask) {
		sid->config.link_mask = DEFAULT_LM;
	}

	LOG_INF("Sidewalk link switch to %s", (SID_LINK_TYPE_3 & sid->config.link_mask) ? "LoRa" :
					      (SID_LINK_TYPE_2 & sid->config.link_mask) ? "FSK" :
											  "BLE");
	sid_error_t e = sid_init(&sid->config, &sid->handle);

	if (e) {
		LOG_ERR("sid init err %d (%s)", (int)e, SID_ERROR_T_STR(e));
		return;
	}

	e = sid_start(sid->handle, sid->config.link_mask);
	if (e) {
		LOG_ERR("sid start err %d (%s)", (int)e, SID_ERROR_T_STR(e));
	}

#if CONFIG_SID_END_DEVICE_AUTO_CONN_REQ
	if (sid->config.link_mask & SID_LINK_TYPE_1) {
		enum sid_link_connection_policy set_policy =
			SID_LINK_CONNECTION_POLICY_AUTO_CONNECT;

		e = sid_option(sid->handle, SID_OPTION_SET_LINK_CONNECTION_POLICY, &set_policy,
			       sizeof(set_policy));
		if (e) {
			LOG_ERR("sid option multi link manager err %d", (int)e);
		}

		struct sid_link_auto_connect_params ac_params = {
			.link_type = SID_LINK_TYPE_1,
			.enable = true,
			.priority = 0,
			.connection_attempt_timeout_seconds = 30
		};

		e = sid_option(sid->handle, SID_OPTION_SET_LINK_POLICY_AUTO_CONNECT_PARAMS,
			       &ac_params, sizeof(ac_params));
		if (e) {
			LOG_ERR("sid option multi link policy err %d", (int)e);
		}
	}
#endif /* CONFIG_SID_END_DEVICE_AUTO_CONN_REQ */
#ifdef CONFIG_SIDEWALK_FILE_TRANSFER_DFU
	int dfu_err = boot_write_img_confirmed();

	if (dfu_err) {
		LOG_ERR("img confirm fail %d", dfu_err);
	}
	app_file_transfer_demo_init(sid->handle);
#endif /* CONFIG_SIDEWALK_FILE_TRANSFER_DFU */
}

void sidewalk_event_factory_reset(sidewalk_ctx_t *sid, void *ctx)
{
	if (sid == NULL || sid->handle == NULL) {
		LOG_INF("sidewalk need to be started first.");
		return;
	}
#ifdef CONFIG_SID_END_DEVICE_PERSISTENT_LINK_MASK
	(void)settings_utils_link_mask_set(0);
#endif /* CONFIG_SID_END_DEVICE_PERSISTENT_LINK_MASK */
	sid_error_t e = sid_set_factory_reset(sid->handle);

	if (e) {
		LOG_ERR("sid factory reset err  %d (%s)", (int)e, SID_ERROR_T_STR(e));
	}
}

void sidewalk_event_new_status(sidewalk_ctx_t *sid, void *ctx)
{
	struct sid_status *p_status = (struct sid_status *)ctx;

	if (!p_status) {
		LOG_ERR("sid new status is NULL");
		return;
	}

	memcpy(&sid->last_status, p_status, sizeof(struct sid_status));
}
void sidewalk_event_send_msg(sidewalk_ctx_t *sid, void *ctx)
{
	if (sid == NULL || sid->handle == NULL) {
		LOG_INF("sidewalk need to be started first.");
		return;
	}
	sidewalk_msg_t *p_msg = (sidewalk_msg_t *)ctx;

	if (!p_msg) {
		LOG_ERR("sid send msg is NULL");
		return;
	}

	sid_error_t e = sid_put_msg(sid->handle, &p_msg->msg, &p_msg->desc);

	if (e) {
		LOG_ERR("sid send err %d", (int)e);
		return;
	}
	LOG_DBG("sid send (type: %d, id: %u)", (int)p_msg->desc.type, p_msg->desc.id);
}
void sidewalk_event_connect(sidewalk_ctx_t *sid, void *ctx)
{
	if (sid == NULL || sid->handle == NULL) {
		LOG_INF("sidewalk need to be started first.");
		return;
	}
	if (!(sid->config.link_mask & SID_LINK_TYPE_1)) {
		LOG_ERR("Can not request connection - BLE not enabled");
		return;
	}
	sid_error_t e = sid_ble_bcn_connection_request(sid->handle, true);

	if (e) {
		LOG_ERR("sid conn req err %d (%s)", (int)e, SID_ERROR_T_STR(e));
	}
}
void sidewalk_event_link_switch(sidewalk_ctx_t *sid, void *ctx)
{
	if (sid == NULL || sid->handle == NULL) {
		LOG_INF("Can not change link if sidewalk was not started yet");
		return;
	}
	static uint32_t new_link_mask = DEFAULT_LM;

	switch (sid->config.link_mask) {
	case SID_LINK_TYPE_1:
		new_link_mask = SID_LINK_TYPE_2;
		break;
	case SID_LINK_TYPE_2:
		new_link_mask = SID_LINK_TYPE_1 | SID_LINK_TYPE_3;
		break;
	default:
		new_link_mask = SID_LINK_TYPE_1;
		break;
	}
	sid->config.link_mask = new_link_mask;

	LOG_INF("Sidewalk link switch to %s", (SID_LINK_TYPE_3 & new_link_mask) ? "LoRa" :
					      (SID_LINK_TYPE_2 & new_link_mask) ? "FSK" :
										  "BLE");
#ifdef CONFIG_SID_END_DEVICE_PERSISTENT_LINK_MASK
	int err = settings_utils_link_mask_set(new_link_mask);

	if (err) {
		LOG_ERR("New link mask set err %d", err);
	}
#endif /* CONFIG_SID_END_DEVICE_PERSISTENT_LINK_MASK */

	if (sid->handle != NULL) {
#ifdef CONFIG_SIDEWALK_FILE_TRANSFER_DFU
		app_file_transfer_demo_deinit(sid->handle);
#endif
		(void)sid_process(sid->handle);
		sid_error_t e = sid_deinit(sid->handle);

		if (e) {
			LOG_ERR("sid deinit err %d (%s)", (int)e, SID_ERROR_T_STR(e));
		}
	}

	sid_error_t e = sid_init(&sid->config, &sid->handle);

	if (e) {
		LOG_ERR("sid init err %d (%s)", (int)e, SID_ERROR_T_STR(e));
	}
#ifdef CONFIG_SIDEWALK_FILE_TRANSFER_DFU
	app_file_transfer_demo_init(sid->handle);
#endif
	e = sid_start(sid->handle, sid->config.link_mask);
	if (e) {
		LOG_ERR("sid start err %d (%s)", (int)e, SID_ERROR_T_STR(e));
	}
#if CONFIG_SID_END_DEVICE_AUTO_CONN_REQ
	if (sid->config.link_mask & SID_LINK_TYPE_1) {
		enum sid_link_connection_policy set_policy =
			SID_LINK_CONNECTION_POLICY_AUTO_CONNECT;

		e = sid_option(sid->handle, SID_OPTION_SET_LINK_CONNECTION_POLICY, &set_policy,
			       sizeof(set_policy));
		if (e) {
			LOG_ERR("sid option multi link manager err %d (%s)", (int)e,
				SID_ERROR_T_STR(e));
		}

		struct sid_link_auto_connect_params ac_params = {
			.link_type = SID_LINK_TYPE_1,
			.enable = true,
			.priority = 0,
			.connection_attempt_timeout_seconds = 30
		};

		e = sid_option(sid->handle, SID_OPTION_SET_LINK_POLICY_AUTO_CONNECT_PARAMS,
			       &ac_params, sizeof(ac_params));
		if (e) {
			LOG_ERR("sid option multi link policy err %d (%s)", (int)e,
				SID_ERROR_T_STR(e));
		}
	}
#endif /* CONFIG_SID_END_DEVICE_AUTO_CONN_REQ */
}

void sidewalk_event_exit(sidewalk_ctx_t *sid, void *ctx)
{
	if (sid == NULL || sid->handle == NULL) {
		LOG_INF("Sidewalk is already deinitialized");
		return;
	}
#ifdef CONFIG_SIDEWALK_FILE_TRANSFER_DFU
	app_file_transfer_demo_deinit(sid->handle);
#endif
	(void)sid_process(sid->handle);
	(void)sid_deinit(sid->handle);
}

void sidewalk_event_reboot(sidewalk_ctx_t *sid, void *ctx)
{
	LOG_INF("Rebooting...");
	LOG_PANIC();
	sys_reboot(SYS_REBOOT_WARM);
}
```
